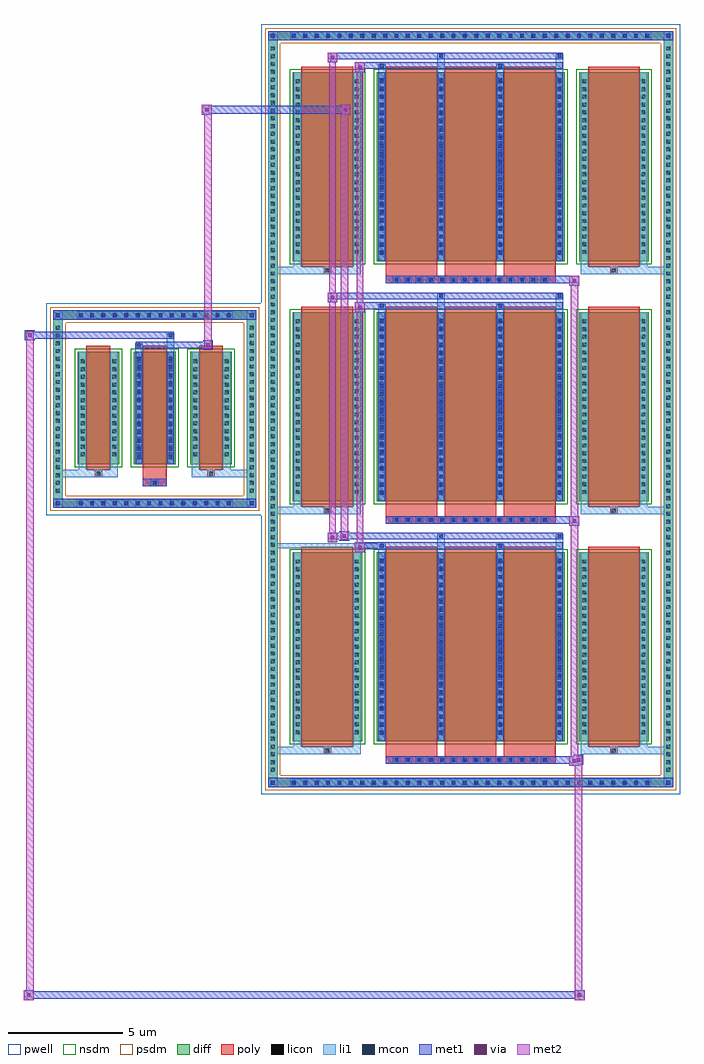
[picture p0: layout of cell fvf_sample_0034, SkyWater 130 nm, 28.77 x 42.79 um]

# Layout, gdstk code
import gdstk
lib = gdstk.Library(unit=1e-6, precision=1e-09)
def R(c, l, rs):  # rectangles x0, y0, x1, y1
    for r in rs: c.add(gdstk.rectangle(r[:2], r[2:], *l))
def A(c, l, x, y, w, h, nx, ny, dx, dy):  # array of equal rectangles
    R(c, l, [(x+i*dx, y+j*dy, x+i*dx+w, y+j*dy+h) for i in range(nx) for j in range(ny)])
def P(c, l, *ps):  # polygons
    for p in ps: c.add(gdstk.Polygon(p, *l))
pwell = (64, 44)
diff = (65, 20)
poly = (66, 20)
licon = (66, 44)
li1 = (67, 20)
mcon = (67, 44)
met1 = (68, 20)
via = (68, 44)
met2 = (69, 20)
nsdm = (93, 44)
psdm = (94, 20)

fvf_sample_0034 = lib.new_cell('fvf_sample_0034')
R(fvf_sample_0034, pwell, [(4.662,-16.886,23.032,16.886), (-4.762,-4.639,4.762,4.639)])
A(fvf_sample_0034, diff, 5.892, -16.576, 0.41, 0.41, 32, 2, 0.5, 32.742)
A(fvf_sample_0034, diff, 4.972, -16.015, 0.41, 0.41, 1, 94, 0, 0.34)
A(fvf_sample_0034, diff, 22.312, -16.015, 0.41, 0.41, 1, 94, 0, 0.34)
A(fvf_sample_0034, diff, 6.042, -14.555, 3.046, 8.278, 1, 3, 0, 10.524)
A(fvf_sample_0034, diff, 9.728, -14.555, 8.238, 8.278, 1, 3, 0, 10.524)
A(fvf_sample_0034, diff, 18.606, -14.555, 3.046, 8.278, 1, 3, 0, 10.524)
A(fvf_sample_0034, diff, -3.455, -4.329, 0.41, 0.41, 14, 2, 0.5, 8.248)
A(fvf_sample_0034, diff, -4.452, -3.775, 0.41, 0.41, 1, 22, 0, 0.34)
A(fvf_sample_0034, diff, 4.042, -3.775, 0.41, 0.41, 1, 22, 0, 0.34)
A(fvf_sample_0034, diff, -3.382, -2.408, 1.828, 4.932, 3, 1, 2.468, 0)
R(fvf_sample_0034, diff, [(5.892,-16.576,21.802,-16.166), (4.972,-16.015,5.382,16.015), (22.312,-16.015,22.722,16.015), (-3.455,-4.329,3.455,-3.919), (-4.452,-3.775,-4.042,3.775), (4.042,-3.775,4.452,3.775), (-3.455,3.919,3.455,4.329), (5.892,16.166,21.802,16.576)])
P(fvf_sample_0034, diff, [(4.452,4.329),(-4.452,4.329),(-4.452,-3.919),(-4.042,-3.919),(-4.042,3.919),(4.042,3.919),(4.042,-3.919),(-4.042,-3.919),(-4.452,-3.919),(-4.452,-4.329),(4.452,-4.329)],
  [(22.722,16.576),(4.972,16.576),(4.972,-16.166),(5.382,-16.166),(5.382,16.166),(22.312,16.166),(22.312,-16.166),(5.382,-16.166),(4.972,-16.166),(4.972,-16.576),(22.722,-16.576)])
A(fvf_sample_0034, poly, 10.118, -15.536, 7.458, 0.33, 1, 3, 0, 10.524)
A(fvf_sample_0034, poly, 10.432, -15.536, 0.33, 0.33, 14, 3, 0.5, 10.524)
A(fvf_sample_0034, poly, 10.118, -15.206, 2.266, 0.401, 3, 3, 2.596, 10.524)
A(fvf_sample_0034, poly, 6.432, -14.805, 2.266, 8.778, 1, 3, 0, 10.524)
A(fvf_sample_0034, poly, 10.118, -14.805, 2.266, 8.778, 3, 3, 2.596, 10.524)
A(fvf_sample_0034, poly, 18.996, -14.805, 2.266, 8.778, 1, 3, 0, 10.524)
A(fvf_sample_0034, poly, -2.992, -2.658, 1.048, 5.432, 3, 1, 2.468, 0)
R(fvf_sample_0034, poly, [(7.4,-15.135,7.73,-14.805), (7.4,-15.135,7.73,-14.805), (19.964,-15.135,20.294,-14.805), (19.964,-15.135,20.294,-14.805), (7.4,-4.611,7.73,-4.281), (7.4,-4.611,7.73,-4.281), (19.964,-4.611,20.294,-4.281), (19.964,-4.611,20.294,-4.281), (-0.524,-3.388,0.524,-3.058), (-0.165,-3.388,0.165,-3.058), (-0.524,-3.058,0.524,-2.658), (-2.633,-2.988,-2.303,-2.658), (-2.633,-2.988,-2.303,-2.658), (2.303,-2.988,2.633,-2.658), (2.303,-2.988,2.633,-2.658), (7.4,5.913,7.73,6.243), (7.4,5.913,7.73,6.243), (19.964,5.913,20.294,6.243), (19.964,5.913,20.294,6.243)])
A(fvf_sample_0034, licon, 6.012, -16.456, 0.17, 0.17, 32, 2, 0.5, 32.742)
A(fvf_sample_0034, licon, 5.092, -15.895, 0.17, 0.17, 1, 94, 0, 0.34)
A(fvf_sample_0034, licon, 22.432, -15.895, 0.17, 0.17, 1, 94, 0, 0.34)
A(fvf_sample_0034, licon, 10.512, -15.456, 0.17, 0.17, 14, 3, 0.5, 10.524)
A(fvf_sample_0034, licon, 7.48, -15.055, 0.17, 0.17, 1, 3, 0, 10.524)
A(fvf_sample_0034, licon, 20.044, -15.055, 0.17, 0.17, 1, 3, 0, 10.524)
A(fvf_sample_0034, licon, 6.182, -14.241, 0.17, 0.17, 1, 23, 0, 0.34)
A(fvf_sample_0034, licon, 8.778, -14.241, 0.17, 0.17, 1, 23, 0, 0.34)
A(fvf_sample_0034, licon, 9.868, -14.241, 0.17, 0.17, 4, 23, 2.596, 0.34)
A(fvf_sample_0034, licon, 18.746, -14.241, 0.17, 0.17, 1, 23, 0, 0.34)
A(fvf_sample_0034, licon, 21.342, -14.241, 0.17, 0.17, 1, 23, 0, 0.34)
A(fvf_sample_0034, licon, -3.335, -4.209, 0.17, 0.17, 14, 2, 0.5, 8.248)
A(fvf_sample_0034, licon, 6.182, -3.717, 0.17, 0.17, 1, 23, 0, 0.34)
A(fvf_sample_0034, licon, 8.778, -3.717, 0.17, 0.17, 1, 23, 0, 0.34)
A(fvf_sample_0034, licon, 9.868, -3.717, 0.17, 0.17, 4, 23, 2.596, 0.34)
A(fvf_sample_0034, licon, 18.746, -3.717, 0.17, 0.17, 1, 23, 0, 0.34)
A(fvf_sample_0034, licon, 21.342, -3.717, 0.17, 0.17, 1, 23, 0, 0.34)
A(fvf_sample_0034, licon, -4.332, -3.655, 0.17, 0.17, 1, 22, 0, 0.34)
A(fvf_sample_0034, licon, 4.162, -3.655, 0.17, 0.17, 1, 22, 0, 0.34)
A(fvf_sample_0034, licon, -3.242, -2.067, 0.17, 0.17, 1, 13, 0, 0.34)
A(fvf_sample_0034, licon, -1.864, -2.067, 0.17, 0.17, 1, 13, 0, 0.34)
A(fvf_sample_0034, licon, -0.774, -2.067, 0.17, 0.17, 1, 13, 0, 0.34)
A(fvf_sample_0034, licon, 0.604, -2.067, 0.17, 0.17, 1, 13, 0, 0.34)
A(fvf_sample_0034, licon, 1.694, -2.067, 0.17, 0.17, 1, 13, 0, 0.34)
A(fvf_sample_0034, licon, 3.072, -2.067, 0.17, 0.17, 1, 13, 0, 0.34)
A(fvf_sample_0034, licon, 6.182, 6.807, 0.17, 0.17, 1, 23, 0, 0.34)
A(fvf_sample_0034, licon, 8.778, 6.807, 0.17, 0.17, 1, 23, 0, 0.34)
A(fvf_sample_0034, licon, 9.868, 6.807, 0.17, 0.17, 4, 23, 2.596, 0.34)
A(fvf_sample_0034, licon, 18.746, 6.807, 0.17, 0.17, 1, 23, 0, 0.34)
A(fvf_sample_0034, licon, 21.342, 6.807, 0.17, 0.17, 1, 23, 0, 0.34)
R(fvf_sample_0034, licon, [(-0.085,-3.308,0.085,-3.138), (-2.553,-2.908,-2.383,-2.738), (2.383,-2.908,2.553,-2.738)])
A(fvf_sample_0034, li1, 5.932, -16.536, 0.33, 0.33, 32, 2, 0.5, 32.742)
A(fvf_sample_0034, li1, 5.012, -15.975, 0.33, 0.33, 1, 94, 0, 0.34)
A(fvf_sample_0034, li1, 22.352, -15.975, 0.33, 0.33, 1, 94, 0, 0.34)
A(fvf_sample_0034, li1, 10.432, -15.536, 0.33, 0.33, 14, 3, 0.5, 10.524)
A(fvf_sample_0034, li1, 4.972, -15.135, 2.428, 0.33, 1, 3, 0, 10.524)
A(fvf_sample_0034, li1, 6.102, -15.135, 0.33, 0.58, 1, 3, 0, 10.524)
A(fvf_sample_0034, li1, 6.102, -15.135, 1.298, 0.33, 1, 3, 0, 10.524)
A(fvf_sample_0034, li1, 7.4, -15.135, 0.33, 0.33, 1, 3, 0, 10.524)
A(fvf_sample_0034, li1, 7.73, -15.135, 1.298, 0.33, 1, 3, 0, 10.524)
A(fvf_sample_0034, li1, 8.698, -15.135, 0.33, 0.58, 1, 3, 0, 10.524)
A(fvf_sample_0034, li1, 18.666, -15.135, 0.33, 0.58, 1, 3, 0, 10.524)
A(fvf_sample_0034, li1, 18.666, -15.135, 1.298, 0.33, 1, 3, 0, 10.524)
A(fvf_sample_0034, li1, 19.964, -15.135, 0.33, 0.33, 1, 3, 0, 10.524)
A(fvf_sample_0034, li1, 19.964, -15.135, 2.758, 0.33, 1, 3, 0, 10.524)
A(fvf_sample_0034, li1, 20.294, -15.135, 1.298, 0.33, 1, 3, 0, 10.524)
A(fvf_sample_0034, li1, 21.262, -15.135, 0.33, 0.58, 1, 3, 0, 10.524)
A(fvf_sample_0034, li1, 6.102, -14.555, 0.33, 8.278, 1, 3, 0, 10.524)
A(fvf_sample_0034, li1, 8.698, -14.555, 0.33, 8.278, 1, 3, 0, 10.524)
A(fvf_sample_0034, li1, 9.788, -14.555, 0.33, 8.278, 4, 3, 2.596, 10.524)
A(fvf_sample_0034, li1, 18.666, -14.555, 0.33, 8.278, 1, 3, 0, 10.524)
A(fvf_sample_0034, li1, 21.262, -14.555, 0.33, 8.278, 1, 3, 0, 10.524)
A(fvf_sample_0034, li1, 6.102, -14.321, 0.33, 0.33, 1, 23, 0, 0.34)
A(fvf_sample_0034, li1, 8.698, -14.321, 0.33, 0.33, 1, 23, 0, 0.34)
A(fvf_sample_0034, li1, 9.788, -14.321, 0.33, 0.33, 4, 23, 2.596, 0.34)
A(fvf_sample_0034, li1, 18.666, -14.321, 0.33, 0.33, 1, 23, 0, 0.34)
A(fvf_sample_0034, li1, 21.262, -14.321, 0.33, 0.33, 1, 23, 0, 0.34)
A(fvf_sample_0034, li1, 9.868, -14.281, 0.17, 0.17, 4, 22, 2.596, 0.36)
A(fvf_sample_0034, li1, 9.868, -14.281, 0.17, 7.73, 4, 3, 2.596, 10.524)
A(fvf_sample_0034, li1, 9.788, -6.277, 0.33, 0.375, 1, 3, 0, 10.524)
A(fvf_sample_0034, li1, 12.384, -6.277, 0.33, 0.805, 1, 3, 0, 10.524)
A(fvf_sample_0034, li1, 14.98, -6.277, 0.33, 0.375, 1, 3, 0, 10.524)
A(fvf_sample_0034, li1, 17.576, -6.277, 0.33, 0.805, 1, 3, 0, 10.524)
A(fvf_sample_0034, li1, 9.868, -6.072, 0.17, 0.17, 1, 3, 0, 10.524)
A(fvf_sample_0034, li1, 15.06, -6.072, 0.17, 0.17, 1, 3, 0, 10.524)
A(fvf_sample_0034, li1, 12.464, -5.642, 0.17, 0.17, 1, 3, 0, 10.524)
A(fvf_sample_0034, li1, 17.656, -5.642, 0.17, 0.17, 1, 3, 0, 10.524)
A(fvf_sample_0034, li1, -3.415, -4.289, 0.33, 0.33, 14, 2, 0.5, 8.248)
A(fvf_sample_0034, li1, 6.102, -3.797, 0.33, 0.33, 1, 23, 0, 0.34)
A(fvf_sample_0034, li1, 8.698, -3.797, 0.33, 0.33, 1, 23, 0, 0.34)
A(fvf_sample_0034, li1, 9.788, -3.797, 0.33, 0.33, 4, 23, 2.596, 0.34)
A(fvf_sample_0034, li1, 18.666, -3.797, 0.33, 0.33, 1, 23, 0, 0.34)
A(fvf_sample_0034, li1, 21.262, -3.797, 0.33, 0.33, 1, 23, 0, 0.34)
A(fvf_sample_0034, li1, 9.868, -3.757, 0.17, 0.17, 4, 22, 2.596, 0.36)
A(fvf_sample_0034, li1, -4.412, -3.735, 0.33, 0.33, 1, 22, 0, 0.34)
A(fvf_sample_0034, li1, 4.082, -3.735, 0.33, 0.33, 1, 22, 0, 0.34)
A(fvf_sample_0034, li1, -0.774, -2.187, 0.17, 0.17, 1, 13, 0, 0.36)
A(fvf_sample_0034, li1, 0.604, -2.187, 0.17, 0.17, 1, 13, 0, 0.36)
A(fvf_sample_0034, li1, -3.322, -2.147, 0.33, 0.33, 1, 13, 0, 0.34)
A(fvf_sample_0034, li1, -1.944, -2.147, 0.33, 0.33, 1, 13, 0, 0.34)
A(fvf_sample_0034, li1, -0.854, -2.147, 0.33, 0.33, 1, 13, 0, 0.34)
A(fvf_sample_0034, li1, 0.524, -2.147, 0.33, 0.33, 1, 13, 0, 0.34)
A(fvf_sample_0034, li1, 1.614, -2.147, 0.33, 0.33, 1, 13, 0, 0.34)
A(fvf_sample_0034, li1, 2.992, -2.147, 0.33, 0.33, 1, 13, 0, 0.34)
A(fvf_sample_0034, li1, 6.102, 6.727, 0.33, 0.33, 1, 23, 0, 0.34)
A(fvf_sample_0034, li1, 8.698, 6.727, 0.33, 0.33, 1, 23, 0, 0.34)
A(fvf_sample_0034, li1, 9.788, 6.727, 0.33, 0.33, 4, 23, 2.596, 0.34)
A(fvf_sample_0034, li1, 18.666, 6.727, 0.33, 0.33, 1, 23, 0, 0.34)
A(fvf_sample_0034, li1, 21.262, 6.727, 0.33, 0.33, 1, 23, 0, 0.34)
A(fvf_sample_0034, li1, 9.868, 6.767, 0.17, 0.17, 4, 22, 2.596, 0.36)
R(fvf_sample_0034, li1, [(4.972,-16.576,5.382,-16.166), (22.312,-16.576,22.722,-16.166), (5.932,-16.536,21.762,-16.206), (5.092,-16.456,5.262,-16.286), (5.092,-16.456,5.262,-16.286), (22.432,-16.456,22.602,-16.286), (22.432,-16.456,22.602,-16.286), (4.972,-16.166,5.382,16.166), (22.312,-16.166,22.722,16.166), (9.808,-6.132,10.098,-5.842), (4.972,-6.087,9.808,-5.887), (9.868,-6.072,10.038,-5.902), (-4.452,-4.329,-4.042,-3.919), (4.042,-4.329,4.452,-3.919), (-3.415,-4.289,3.415,-3.959), (-4.332,-4.209,-4.162,-4.039), (-4.332,-4.209,-4.162,-4.039), (4.162,-4.209,4.332,-4.039), (4.162,-4.209,4.332,-4.039), (-4.452,-3.919,-4.042,3.919), (4.042,-3.919,4.452,3.919), (-0.165,-3.388,0.165,-3.058), (-4.452,-2.988,-2.633,-2.658), (-3.322,-2.988,-2.633,-2.658), (-3.322,-2.988,-2.992,-2.408), (-2.633,-2.988,-2.303,-2.658), (-2.303,-2.988,-1.614,-2.658), (-1.944,-2.988,-1.614,-2.408), (1.614,-2.988,2.303,-2.658), (1.614,-2.988,1.944,-2.408), (2.303,-2.988,2.633,-2.658), (2.303,-2.988,4.452,-2.658), (2.633,-2.988,3.322,-2.658), (2.992,-2.988,3.322,-2.408), (-3.322,-2.408,-2.992,2.524), (-1.944,-2.408,-1.614,2.524), (-0.854,-2.408,-0.524,2.524), (0.524,-2.408,0.854,2.524), (1.614,-2.408,1.944,2.524), (2.992,-2.408,3.322,2.524), (-0.774,-2.187,-0.604,2.303), (0.604,-2.187,0.774,2.303), (-0.854,2.524,-0.524,2.899), (0.524,2.524,0.854,3.329), (-0.774,2.729,-0.604,2.899), (0.604,3.159,0.774,3.329), (-4.452,3.919,-4.042,4.329), (4.042,3.919,4.452,4.329), (-3.415,3.959,3.415,4.289), (-4.332,4.039,-4.162,4.209), (-4.332,4.039,-4.162,4.209), (4.162,4.039,4.332,4.209), (4.162,4.039,4.332,4.209), (4.972,16.166,5.382,16.576), (22.312,16.166,22.722,16.576), (5.932,16.206,21.762,16.536), (5.092,16.286,5.262,16.456), (5.092,16.286,5.262,16.456), (22.432,16.286,22.602,16.456), (22.432,16.286,22.602,16.456)])
A(fvf_sample_0034, mcon, 6.012, -16.456, 0.17, 0.17, 32, 2, 0.5, 32.742)
A(fvf_sample_0034, mcon, 10.512, -15.456, 0.17, 0.17, 14, 3, 0.5, 10.524)
A(fvf_sample_0034, mcon, 9.868, -14.281, 0.17, 0.17, 4, 22, 2.596, 0.36)
A(fvf_sample_0034, mcon, 9.868, -6.072, 0.17, 0.17, 1, 3, 0, 10.524)
A(fvf_sample_0034, mcon, 15.06, -6.072, 0.17, 0.17, 1, 3, 0, 10.524)
A(fvf_sample_0034, mcon, 12.464, -5.642, 0.17, 0.17, 1, 3, 0, 10.524)
A(fvf_sample_0034, mcon, 17.656, -5.642, 0.17, 0.17, 1, 3, 0, 10.524)
A(fvf_sample_0034, mcon, -3.335, -4.209, 0.17, 0.17, 14, 2, 0.5, 8.248)
A(fvf_sample_0034, mcon, 9.868, -3.757, 0.17, 0.17, 4, 22, 2.596, 0.36)
A(fvf_sample_0034, mcon, -0.774, -2.187, 0.17, 0.17, 1, 13, 0, 0.36)
A(fvf_sample_0034, mcon, 0.604, -2.187, 0.17, 0.17, 1, 13, 0, 0.36)
A(fvf_sample_0034, mcon, 9.868, 6.767, 0.17, 0.17, 4, 22, 2.596, 0.36)
R(fvf_sample_0034, mcon, [(5.092,-16.456,5.262,-16.286), (22.432,-16.456,22.602,-16.286), (9.868,-6.072,10.038,-5.902), (-4.332,-4.209,-4.162,-4.039), (4.162,-4.209,4.332,-4.039), (-0.085,-3.308,0.085,-3.138), (-0.774,2.729,-0.604,2.899), (0.604,3.159,0.774,3.329), (-4.332,4.039,-4.162,4.209), (4.162,4.039,4.332,4.209), (5.092,16.286,5.262,16.456), (22.432,16.286,22.602,16.456)])
A(fvf_sample_0034, met1, 5.952, -16.516, 0.29, 0.29, 32, 2, 0.5, 32.742)
A(fvf_sample_0034, met1, 10.118, -15.536, 7.458, 0.33, 1, 3, 0, 10.524)
A(fvf_sample_0034, met1, 10.452, -15.516, 0.29, 0.29, 14, 3, 0.5, 10.524)
A(fvf_sample_0034, met1, 9.808, -14.555, 0.29, 8.278, 4, 3, 2.596, 10.524)
A(fvf_sample_0034, met1, 9.808, -14.341, 0.29, 0.29, 4, 22, 2.596, 0.36)
A(fvf_sample_0034, met1, 9.808, -6.132, 0.29, 0.29, 1, 3, 0, 10.524)
A(fvf_sample_0034, met1, 15, -6.132, 0.29, 0.29, 1, 3, 0, 10.524)
A(fvf_sample_0034, met1, 12.404, -5.702, 0.29, 0.29, 1, 3, 0, 10.524)
A(fvf_sample_0034, met1, 17.596, -5.702, 0.29, 0.29, 1, 3, 0, 10.524)
A(fvf_sample_0034, met1, -3.395, -4.269, 0.29, 0.29, 14, 2, 0.5, 8.248)
A(fvf_sample_0034, met1, 9.808, -3.817, 0.29, 0.29, 4, 22, 2.596, 0.36)
A(fvf_sample_0034, met1, -0.834, -2.247, 0.29, 0.29, 1, 13, 0, 0.36)
A(fvf_sample_0034, met1, 0.544, -2.247, 0.29, 0.29, 1, 13, 0, 0.36)
A(fvf_sample_0034, met1, 9.808, 6.707, 0.29, 0.29, 4, 22, 2.596, 0.36)
R(fvf_sample_0034, met1, [(-5.738,-25.899,-5.308,-25.469), (18.411,-25.899,18.841,-25.469), (-5.738,-25.849,18.841,-25.519), (-5.738,-25.519,-5.308,-25.469), (18.411,-25.519,18.841,-25.469), (4.972,-16.576,5.382,-16.166), (4.972,-16.576,5.382,-16.166), (5.382,-16.576,22.312,-16.166), (22.312,-16.576,22.722,-16.166), (22.312,-16.576,22.722,-16.166), (5.032,-16.516,5.322,-16.226), (22.372,-16.516,22.662,-16.226), (18.176,-15.636,18.606,-15.206), (18.361,-15.586,18.791,-15.156), (17.576,-15.536,18.361,-15.206), (17.576,-15.536,18.606,-15.206), (8.778,-6.272,9.208,-5.842), (8.778,-6.132,9.808,-5.842), (9.808,-6.132,10.098,-5.842), (9.808,-6.132,17.886,-5.842), (7.578,-5.842,8.008,-5.412), (8.093,-5.772,8.523,-5.342), (7.578,-5.702,9.808,-5.412), (8.523,-5.702,9.808,-5.412), (9.808,-5.702,17.886,-5.412), (18.176,-5.112,18.606,-4.682), (18.176,-5.112,18.606,-4.682), (17.576,-5.012,18.606,-4.682), (17.576,-5.012,18.606,-4.682), (-4.452,-4.329,-4.042,-3.919), (-4.452,-4.329,-4.042,-3.919), (-4.042,-4.329,4.042,-3.919), (4.042,-4.329,4.452,-3.919), (4.042,-4.329,4.452,-3.919), (-4.392,-4.269,-4.102,-3.979), (4.102,-4.269,4.392,-3.979), (-0.524,-3.388,0.524,-3.058), (-0.145,-3.368,0.145,-3.078), (-0.834,-2.408,-0.544,2.524), (0.544,-2.408,0.834,2.524), (2.119,2.599,2.549,3.029), (-0.834,2.669,-0.544,2.959), (-0.834,2.669,0.834,2.959), (0.834,2.669,2.119,2.959), (-5.688,3.029,-5.258,3.459), (-5.258,3.099,-0.834,3.389), (-0.834,3.099,0.834,3.389), (0.544,3.099,0.834,3.389), (-4.452,3.919,-4.042,4.329), (-4.452,3.919,-4.042,4.329), (-4.042,3.919,4.042,4.329), (4.042,3.919,4.452,4.329), (4.042,3.919,4.452,4.329), (-4.392,3.979,-4.102,4.269), (4.102,3.979,4.392,4.269), (8.778,4.252,9.208,4.682), (8.778,4.252,9.208,4.682), (8.778,4.392,9.808,4.682), (8.778,4.392,9.808,4.682), (9.808,4.392,17.886,4.682), (7.578,4.682,8.008,5.112), (7.578,4.682,8.008,5.112), (7.578,4.822,9.808,5.112), (7.578,4.822,9.808,5.112), (9.808,4.822,17.886,5.112), (18.176,5.412,18.606,5.842), (17.576,5.512,18.606,5.842), (2.069,12.912,2.499,13.342), (8.143,12.912,8.573,13.342), (2.069,12.962,8.573,13.292), (2.069,13.292,2.499,13.342), (8.143,13.292,8.573,13.342), (8.778,14.776,9.208,15.206), (8.778,14.916,9.808,15.206), (9.808,14.916,17.886,15.206), (7.578,15.206,8.008,15.636), (7.578,15.346,9.808,15.636), (9.808,15.346,17.886,15.636), (4.972,16.166,5.382,16.576), (4.972,16.166,5.382,16.576), (5.382,16.166,22.312,16.576), (22.312,16.166,22.722,16.576), (22.312,16.166,22.722,16.576), (5.032,16.226,5.322,16.516), (22.372,16.226,22.662,16.516)])
R(fvf_sample_0034, via, [(-5.598,-25.759,-5.448,-25.609), (18.551,-25.759,18.701,-25.609), (18.316,-15.496,18.466,-15.346), (18.501,-15.446,18.651,-15.296), (8.918,-6.132,9.068,-5.982), (7.718,-5.702,7.868,-5.552), (8.233,-5.632,8.383,-5.482), (18.316,-4.972,18.466,-4.822), (18.316,-4.972,18.466,-4.822), (2.259,2.739,2.409,2.889), (-5.548,3.169,-5.398,3.319), (8.918,4.392,9.068,4.542), (8.918,4.392,9.068,4.542), (7.718,4.822,7.868,4.972), (7.718,4.822,7.868,4.972), (18.316,5.552,18.466,5.702), (2.209,13.052,2.359,13.202), (8.283,13.052,8.433,13.202), (8.918,14.916,9.068,15.066), (7.718,15.346,7.868,15.496)])
R(fvf_sample_0034, met2, [(-5.738,-25.899,-5.308,-25.469), (-5.638,-25.899,-5.308,3.079), (18.411,-25.899,18.841,-25.469), (18.411,-25.899,18.741,-15.536), (-5.688,-25.849,-5.358,-25.519), (18.461,-25.849,18.791,-25.519), (18.176,-15.636,18.606,-15.206), (18.226,-15.636,18.556,-4.682), (18.556,-15.636,18.606,-15.206), (18.226,-15.586,18.556,-15.256), (18.411,-15.536,18.741,-15.206), (8.778,-6.272,9.208,-5.842), (8.848,-6.272,9.138,4.682), (9.138,-6.272,9.208,-5.842), (8.828,-6.222,9.158,-5.892), (7.578,-5.842,8.008,-5.412), (7.648,-5.842,7.938,5.112), (7.938,-5.842,8.008,-5.412), (7.628,-5.792,7.958,-5.462), (8.143,-5.722,8.473,-5.392), (8.143,-5.392,8.473,13.342), (18.176,-5.112,18.606,-4.682), (18.176,-5.112,18.606,-4.682), (18.226,-5.112,18.556,5.842), (18.556,-5.112,18.606,-4.682), (18.556,-5.112,18.606,-4.682), (18.226,-5.062,18.556,-4.732), (18.226,-5.062,18.556,-4.732), (2.169,2.649,2.499,2.979), (2.169,2.979,2.499,13.342), (-5.638,3.079,-5.308,3.409), (8.778,4.252,9.208,4.682), (8.778,4.252,9.208,4.682), (8.848,4.252,9.138,15.206), (9.138,4.252,9.208,4.682), (9.138,4.252,9.208,4.682), (8.828,4.302,9.158,4.632), (8.828,4.302,9.158,4.632), (7.578,4.682,8.008,5.112), (7.578,4.682,8.008,5.112), (7.648,4.682,7.938,15.636), (7.938,4.682,8.008,5.112), (7.938,4.682,8.008,5.112), (7.628,4.732,7.958,5.062), (7.628,4.732,7.958,5.062), (18.176,5.412,18.606,5.842), (18.556,5.412,18.606,5.842), (18.226,5.462,18.556,5.792), (2.069,12.912,2.499,13.342), (8.143,12.912,8.573,13.342), (2.119,12.962,2.449,13.292), (8.193,12.962,8.523,13.292), (8.778,14.776,9.208,15.206), (9.138,14.776,9.208,15.206), (8.828,14.826,9.158,15.156), (7.578,15.206,8.008,15.636), (7.938,15.206,8.008,15.636), (7.628,15.256,7.958,15.586)])
A(fvf_sample_0034, nsdm, 5.912, -14.685, 3.306, 8.538, 1, 3, 0, 10.524)
A(fvf_sample_0034, nsdm, 9.598, -14.685, 8.498, 8.538, 1, 3, 0, 10.524)
A(fvf_sample_0034, nsdm, 18.476, -14.685, 3.306, 8.538, 1, 3, 0, 10.524)
A(fvf_sample_0034, nsdm, -3.512, -2.538, 2.088, 5.192, 3, 1, 2.468, 0)
P(fvf_sample_0034, psdm, [(4.582,4.459),(-4.582,4.459),(-4.582,-3.789),(-3.912,-3.789),(-3.912,3.789),(3.912,3.789),(3.912,-3.789),(-3.912,-3.789),(-4.582,-3.789),(-4.582,-4.459),(4.582,-4.459)],
  [(22.852,16.706),(4.842,16.706),(4.842,-16.036),(5.512,-16.036),(5.512,16.036),(22.182,16.036),(22.182,-16.036),(5.512,-16.036),(4.842,-16.036),(4.842,-16.706),(22.852,-16.706)])

lib.write_gds('fvf_sample_0034.gds')
